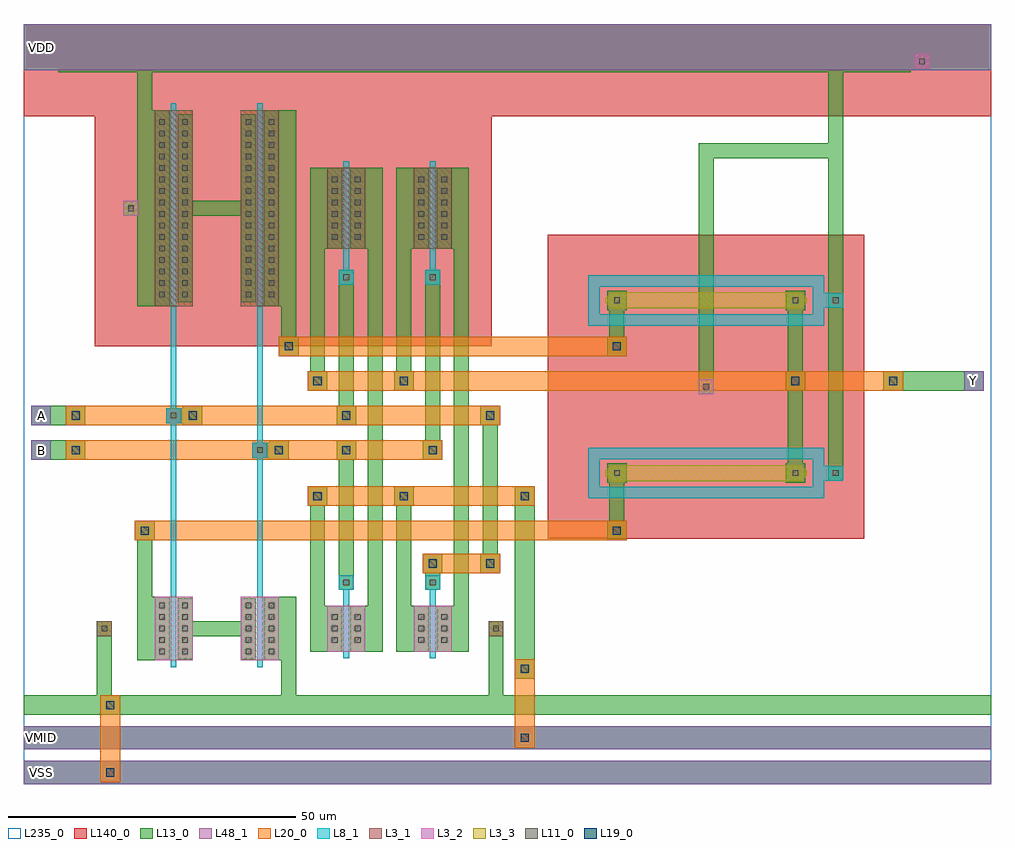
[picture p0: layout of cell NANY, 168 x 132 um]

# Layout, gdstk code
import gdstk
lib = gdstk.Library(unit=1e-6, precision=1e-09)
def R(c, l, rs):  # rectangles x0, y0, x1, y1
    for r in rs: c.add(gdstk.rectangle(r[:2], r[2:], *l))
def A(c, l, x, y, w, h, nx, ny, dx, dy):  # array of equal rectangles
    R(c, l, [(x+i*dx, y+j*dy, x+i*dx+w, y+j*dy+h) for i in range(nx) for j in range(ny)])
def P(c, l, *ps):  # polygons
    for p in ps: c.add(gdstk.Polygon(p, *l))
L3_1 = (3, 1)
L3_2 = (3, 2)
L3_3 = (3, 3)
L8_1 = (8, 1)
L11_0 = (11, 0)
L13_0 = (13, 0)
L19_0 = (19, 0)
L20_0 = (20, 0)
L48_1 = (48, 1)
L140_0 = (140, 0)
L235_0 = (235, 0)

fet_p__nany = lib.new_cell('fet_p__NANY')
R(fet_p__nany, L3_1, [(-3.3,-17,3.3,17)])
A(fet_p__nany, L11_0, -2.5, -15.5, 1, 1, 1, 16, 0, 2)
A(fet_p__nany, L11_0, 1.5, -15.5, 1, 1, 1, 16, 0, 2)
R(fet_p__nany, L13_0, [(-3.3,-16.3,-0.7,16.3), (0.7,-16.3,3.3,16.3)])
fet_p__nany.add(gdstk.FlexPath([(0,-18.2),(0,18.2)], 1, ends="flush", simple_path=True, layer=8, datatype=1))  # L8_1

fet_p_1__nany = lib.new_cell('fet_p$1__NANY')
R(fet_p_1__nany, L3_1, [(-3.3,-7,3.3,7)])
A(fet_p_1__nany, L11_0, -2.5, -5.5, 1, 1, 1, 6, 0, 2)
A(fet_p_1__nany, L11_0, 1.5, -5.5, 1, 1, 1, 6, 0, 2)
R(fet_p_1__nany, L13_0, [(-3.3,-6.3,-0.7,6.3), (0.7,-6.3,3.3,6.3)])
fet_p_1__nany.add(gdstk.FlexPath([(0,-8.2),(0,8.2)], 1, ends="flush", simple_path=True, layer=8, datatype=1))  # L8_1

fet_n__nany = lib.new_cell('fet_n__NANY')
R(fet_n__nany, L3_2, [(-3.3,-5.5,3.3,5.5)])
A(fet_n__nany, L11_0, -2.5, -4.5, 1, 1, 1, 5, 0, 2)
A(fet_n__nany, L11_0, 1.5, -4.5, 1, 1, 1, 5, 0, 2)
R(fet_n__nany, L13_0, [(-3.3,-5.3,-0.7,5.3), (0.7,-5.3,3.3,5.3)])
fet_n__nany.add(gdstk.FlexPath([(0,-6.7),(0,6.7)], 1, ends="flush", simple_path=True, layer=8, datatype=1))  # L8_1

fet_n_1__nany = lib.new_cell('fet_n$1__NANY')
R(fet_n_1__nany, L3_2, [(-3.3,-4,3.3,4)])
A(fet_n_1__nany, L11_0, -2.5, -2.5, 1, 1, 1, 3, 0, 2)
A(fet_n_1__nany, L11_0, 1.5, -2.5, 1, 1, 1, 3, 0, 2)
R(fet_n_1__nany, L13_0, [(-3.3,-3.3,-0.7,3.3), (0.7,-3.3,3.3,3.3)])
fet_n_1__nany.add(gdstk.FlexPath([(0,-5.2),(0,5.2)], 1, ends="flush", simple_path=True, layer=8, datatype=1))  # L8_1

res_diff__nany = lib.new_cell('res_diff__NANY')
P(res_diff__nany, L3_3, [(-16.5,-1.4),(-17.5,-0.4),(-17.5,0.4),(-16.5,1.4),(16.5,1.4),(17.5,0.4),(17.5,-0.4),(16.5,-1.4)])
P(res_diff__nany, L8_1, [(-20.5,-4.4),(-20.5,2.4),(-18.5,2.4),(-18.5,-2.4),(18.5,-2.4),(18.5,2.4),(-20.5,2.4),(-20.5,4.4),(20.5,4.4),(20.5,-4.4)])
R(res_diff__nany, L11_0, [(-16,-0.5,-15,0.5), (15,-0.5,16,0.5)])
R(res_diff__nany, L13_0, [(-17.2,-1.7,-13.8,1.7), (13.8,-1.7,17.2,1.7)])

cont_n__nany = lib.new_cell('cont_n__NANY')
R(cont_n__nany, L3_2, [(-1.3,-1.3,1.3,1.3)])
R(cont_n__nany, L11_0, [(-0.5,-0.5,0.5,0.5)])
R(cont_n__nany, L13_0, [(-1.3,-1.3,1.3,1.3)])

cont_p__nany = lib.new_cell('cont_p__NANY')
R(cont_p__nany, L3_1, [(-1.3,-1.3,1.3,1.3)])
R(cont_p__nany, L11_0, [(-0.5,-0.5,0.5,0.5)])
R(cont_p__nany, L13_0, [(-1.3,-1.3,1.3,1.3)])

cont_g__nany = lib.new_cell('cont_g__NANY')
R(cont_g__nany, L8_1, [(-1.3,-1.3,1.3,1.3)])
R(cont_g__nany, L11_0, [(-0.5,-0.5,0.5,0.5)])
R(cont_g__nany, L13_0, [(-1.3,-1.3,1.3,1.3)])

via_1__nany = lib.new_cell('via_1__NANY')
R(via_1__nany, L13_0, [(-1.7,-1.7,1.7,1.7)])
R(via_1__nany, L19_0, [(-0.7,-0.7,0.7,0.7)])
R(via_1__nany, L20_0, [(-1.7,-1.7,1.7,1.7)])

nany = lib.new_cell('NANY')
R(nany, L8_1, [(25.5,26.5,26.5,100.5), (40.5,26.5,41.5,100.5), (55.5,26.5,56.5,35.5), (70.5,26.5,71.5,35.5), (137.7,52.7,142.3,55.3), (137.7,82.7,142.3,85.3), (55.5,87.5,56.5,100.5), (70.5,87.5,71.5,100.5)])
R(nany, L13_0, [(0,0,168,4), (0,6,168,10), (0,12,168,15.4), (6,12,154,15.4), (12.7,12.4,15.3,28.3), (44.7,12.4,47.3,28.3), (80.7,12.4,83.3,28.3), (85.3,18.3,88.7,51.7), (19.7,21.5,25.3,32.5), (41.7,21.5,47.3,32.5), (49.7,23,55.3,31), (56.7,23,62.3,31), (64.7,23,70.3,31), (71.7,23,77.3,31), (19.7,25.7,25.3,28.3), (19.7,25.7,22.3,45.3), (26.7,25.7,40.3,28.3), (41.7,25.7,47.3,28.3), (49.7,25.7,55.3,28.3), (49.7,25.7,52.3,51.3), (56.7,25.7,62.3,28.3), (59.7,25.7,62.3,101.3), (64.7,25.7,70.3,28.3), (64.7,25.7,67.3,51.3), (71.7,25.7,77.3,28.3), (74.7,25.7,77.3,101.3), (54.7,33.7,57.3,59.3), (54.7,33.7,57.3,36.3), (69.7,33.7,72.3,39.6), (79.7,37,82.3,39.6), (79.7,37,82.3,65.3), (101.7,42.7,104.3,55.3), (101.7,52.7,104.3,55.3), (132.7,52.7,135.3,85.3), (139.7,52.7,142.3,111.3), (1.3,56.3,10.7,59.7), (1.3,56.3,4.7,59.7), (39.7,56.7,45.6,59.3), (69.7,56.7,72.3,89.3), (1.3,62.3,10.7,65.7), (1.3,62.3,4.7,65.7), (24.7,62.7,30.6,65.3), (54.7,62.7,57.3,89.3), (117.2,67.7,119.8,111.3), (149.3,68.3,166.7,71.7), (163.3,68.3,166.7,71.7), (49.7,68.7,52.3,101.3), (64.7,68.7,67.3,101.3), (44.7,74.7,47.3,101.3), (101.7,74.7,104.3,85.3), (101.7,82.7,104.3,85.3), (19.7,83,25.3,117), (41.7,83,47.3,117), (54.7,86.7,57.3,89.3), (69.7,86.7,72.3,89.3), (49.7,93,55.3,107), (56.7,93,62.3,107), (64.7,93,70.3,107), (71.7,93,77.3,107), (17.3,98.7,22.3,101.3), (19.7,98.7,22.3,126.6), (19.7,98.7,25.3,101.3), (26.7,98.7,40.3,101.3), (41.7,98.7,47.3,101.3), (49.7,98.7,55.3,101.3), (56.7,98.7,62.3,101.3), (64.7,98.7,70.3,101.3), (71.7,98.7,77.3,101.3), (117.2,108.7,142.3,111.3), (139.7,108.7,142.3,126.6), (6,123.6,154,127), (0,124,168,132), (154.7,124.2,157.3,129.3)])
R(nany, L20_0, [(13.3,0.3,16.7,15.4), (85.3,6.3,88.7,21.7), (69.3,36.6,82.7,40), (19.3,42.3,104.7,45.7), (49.3,48.3,87.7,51.7), (82.3,48.3,88.7,51.7), (7.3,56.3,72.7,59.7), (7.3,62.3,82.7,65.7), (49.3,68.3,152.7,71.7), (44.3,74.3,104.7,77.7)])
R(nany, L48_1, [(0,0,168,4), (0,6,168,10), (1.3,56.3,4.7,59.7), (1.3,62.3,4.7,65.7), (163.3,68.3,166.7,71.7), (0,124,168,132)])
R(nany, L140_0, [(91,42.6,146,95.4), (12.3,76,81.3,124), (0,116,168,132)])
R(nany, L235_0, [(0,0,168,132)])
nany.add(gdstk.Reference(fet_p__nany, (26,100)))
nany.add(gdstk.Reference(fet_p__nany, (41,100)))
nany.add(gdstk.Reference(fet_p_1__nany, (56,100)))
nany.add(gdstk.Reference(fet_p_1__nany, (71,100)))
nany.add(gdstk.Reference(fet_n__nany, (26,27)))
nany.add(gdstk.Reference(fet_n__nany, (41,27)))
nany.add(gdstk.Reference(fet_n_1__nany, (56,27)))
nany.add(gdstk.Reference(fet_n_1__nany, (71,27)))
nany.add(gdstk.Reference(res_diff__nany, (118.5,84)))
nany.add(gdstk.Reference(res_diff__nany, (118.5,54)))
nany.add(gdstk.Reference(cont_n__nany, (18.6,100)))
nany.add(gdstk.Reference(cont_n__nany, (118.5,69)))
nany.add(gdstk.Reference(cont_p__nany, (14,27)))
nany.add(gdstk.Reference(cont_p__nany, (82,27)))
nany.add(gdstk.Reference(cont_g__nany, (141,54)))
nany.add(gdstk.Reference(cont_g__nany, (141,84)))
nany.add(gdstk.Reference(via_1__nany, (46,76)))
nany.add(gdstk.Reference(via_1__nany, (21,44)))
nany.add(gdstk.Reference(via_1__nany, (51,70)))
nany.add(gdstk.Reference(via_1__nany, (51,50)))
nany.add(gdstk.Reference(via_1__nany, (66,70)))
nany.add(gdstk.Reference(via_1__nany, (66,50)))
nany.add(gdstk.Reference(cont_g__nany, (26,64)))
nany.add(gdstk.Reference(via_1__nany, (29.3,64)))
nany.add(gdstk.Reference(cont_g__nany, (41,58)))
nany.add(gdstk.Reference(via_1__nany, (44.3,58)))
nany.add(gdstk.Reference(cont_g__nany, (56,88)))
nany.add(gdstk.Reference(via_1__nany, (56,64)))
nany.add(gdstk.Reference(cont_g__nany, (71,88)))
nany.add(gdstk.Reference(via_1__nany, (71,58)))
nany.add(gdstk.Reference(cont_g__nany, (56,35)))
nany.add(gdstk.Reference(cont_g__nany, (71,35)))
nany.add(gdstk.Reference(via_1__nany, (56,58)))
nany.add(gdstk.Reference(via_1__nany, (71,38.3)))
nany.add(gdstk.Reference(via_1__nany, (81,38.3)))
nany.add(gdstk.Reference(via_1__nany, (81,64)))
nany.add(gdstk.Reference(via_1__nany, (103,76)))
nany.add(gdstk.Reference(via_1__nany, (103,44)))
nany.add(gdstk.Reference(via_1__nany, (134,70)))
nany.add(gdstk.Reference(via_1__nany, (9,64)))
nany.add(gdstk.Reference(via_1__nany, (9,58)))
nany.add(gdstk.Reference(via_1__nany, (151,70)))
nany.add(gdstk.Reference(via_1__nany, (87,50)))
nany.add(gdstk.Reference(via_1__nany, (87,20)))
nany.add(gdstk.Reference(via_1__nany, (87,8)))
nany.add(gdstk.Reference(cont_n__nany, (156,125.5)))
nany.add(gdstk.Reference(via_1__nany, (15,13.7)))
nany.add(gdstk.Reference(via_1__nany, (15,2)))
nany.add(gdstk.Label('A', (3,64), layer=48, texttype=0))
nany.add(gdstk.Label('B', (3,58), layer=48, texttype=0))
nany.add(gdstk.Label('Y', (165,70), layer=48, texttype=0))
nany.add(gdstk.Label('VDD', (3,128), layer=48, texttype=0))
nany.add(gdstk.Label('VMID', (3,8), layer=48, texttype=0))
nany.add(gdstk.Label('VSS', (3,2), layer=48, texttype=0))

lib.write_gds('NANY.gds')
